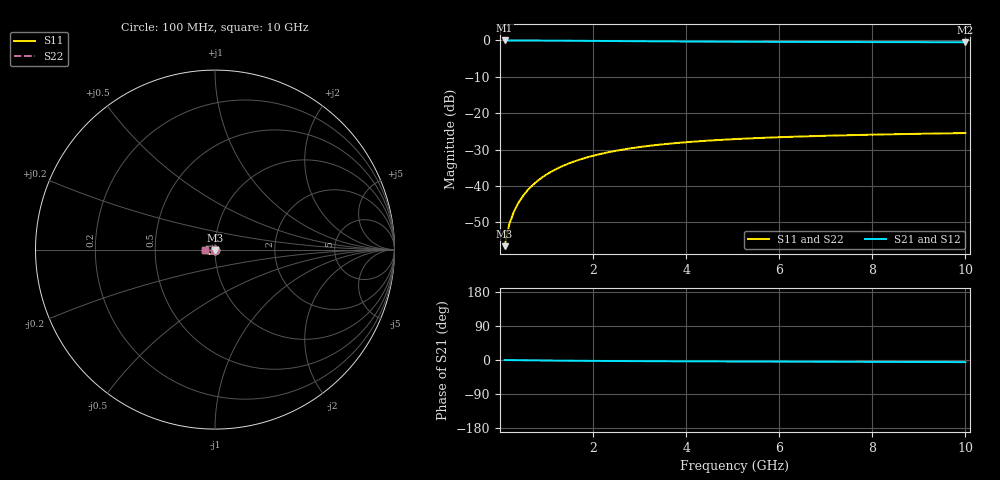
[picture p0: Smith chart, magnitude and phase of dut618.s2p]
! Touchstone file exported from HFSS 2024.1.0
!  File:  C:/UserFiles/LocalFiles/RDL_TSV_Batchsim/temp_TSV1_618_1779788933.aedt
!  Generated:  05:53:56 PM May 26, 2026
!  Design:  TSV1
!  Project:  temp_TSV1_618_1779788933
!  Setup:  Setup1
!  Solution:  Sweep
! Variables:
!  dtsv = 11.08um
!  hbump = 3um
!  htsv = 87.33um
!  lrdl = 252.1521522um
!  p = 40
!  p1 = 50.2um
!  t = 500um
!  trdl = 3um
!  wrdl = 24.89489489um
# GHz S MA R 50.000000
! Terminal data exported
! Port[1] = TSV22_T1
! Port[2] = TSV22_T2
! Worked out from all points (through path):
!   100 points, 100 MHz to 10 GHz, reference 50 ohm
!   highest |S21| = 0.00 dB at 100 MHz (marker M1); lowest = -0.5 dB at 10 GHz (marker M2)
!   lowest |S11| = -56.6 dB at 100 MHz (marker M3), VSWR 1.00, Z = 50 - j0.148 ohm
!   |S11| at or under -10 dB: start of sweep to end of sweep
!   |S22| runs from -56.6 to -25.5 dB; largest |S21 - S12| = 2.3e-15
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0.1  0.001481 -86.9  0.9998 -0.1  0.9998 -0.1  0.001481 -86.9
! Gamma 0 0 0 0
! Port Impedance 50 0 50 0
0.2  0.002955 -91.0  0.9997 -0.3  0.9997 -0.3  0.002955 -91.0
0.3  0.004428 -93.5  0.9994 -0.4  0.9994 -0.4  0.004428 -93.5
0.4  0.005895 -95.6  0.9991 -0.6  0.9991 -0.6  0.005895 -95.6
0.5  0.007352 -97.6  0.9987 -0.7  0.9987 -0.7  0.007352 -97.6
0.6  0.008792 -99.5  0.9982 -0.8  0.9982 -0.8  0.008792 -99.5
0.7  0.01021 -101.4  0.9976 -1.0  0.9976 -1.0  0.01021 -101.4
0.8  0.01161 -103.2  0.997 -1.1  0.997 -1.1  0.01161 -103.2
0.9  0.01298 -104.9  0.9963 -1.2  0.9963 -1.2  0.01298 -104.9
1.1  0.01564 -108.4  0.9947 -1.4  0.9947 -1.4  0.01564 -108.4
1.4  0.01939 -113.3  0.992 -1.8  0.992 -1.8  0.01939 -113.3
1.6  0.02172 -116.4  0.9901 -2.0  0.9901 -2.0  0.02172 -116.4
1.8  0.0239 -119.4  0.988 -2.2  0.988 -2.2  0.0239 -119.4
2.1  0.02691 -123.6  0.9849 -2.4  0.9849 -2.4  0.02691 -123.6
2.5  0.03045 -128.7  0.9808 -2.7  0.9808 -2.7  0.03045 -128.7
2.9  0.0335 -133.4  0.9769 -3.0  0.9769 -3.0  0.0335 -133.4
3.4  0.03671 -138.6  0.9724 -3.2  0.9724 -3.2  0.03671 -138.6
4.2  0.04075 -145.8  0.9662 -3.6  0.9662 -3.6  0.04075 -145.8
5.1  0.04413 -152.5  0.9607 -3.9  0.9607 -3.9  0.04413 -152.5
6.7  0.04827 -162.1  0.9536 -4.5  0.9536 -4.5  0.04827 -162.1
8.4  0.0512 -170.1  0.9486 -5.0  0.9486 -5.0  0.0512 -170.1
10  0.05324 -176.3  0.9454 -5.6  0.9454 -5.6  0.05324 -176.3
